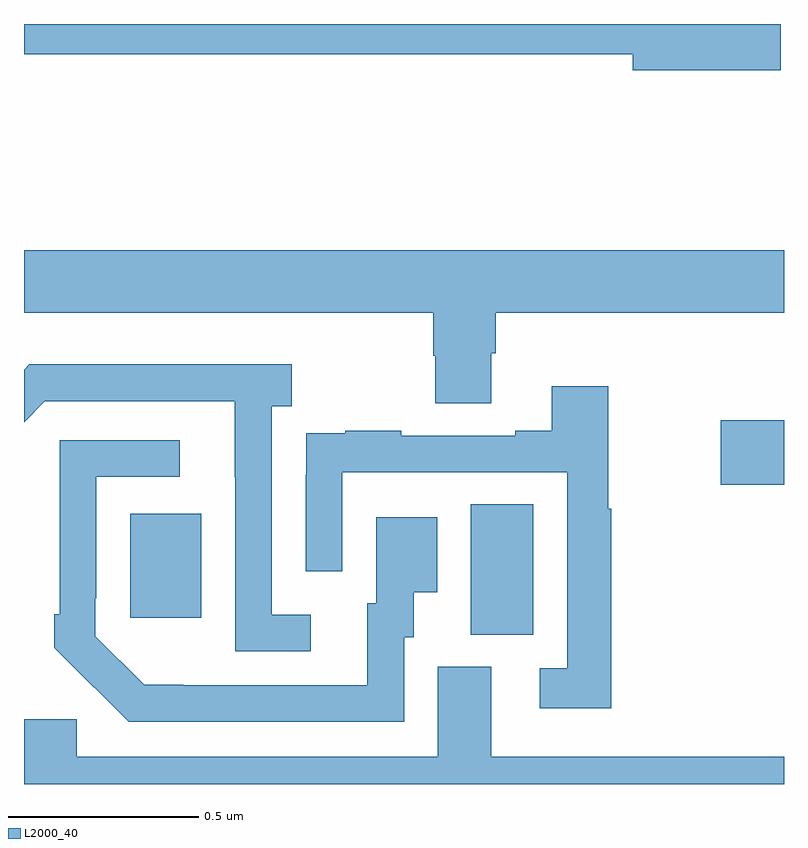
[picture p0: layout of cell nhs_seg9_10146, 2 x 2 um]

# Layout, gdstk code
import gdstk
lib = gdstk.Library(unit=1e-6, precision=1e-09)
def R(c, l, rs):  # rectangles x0, y0, x1, y1
    for r in rs: c.add(gdstk.rectangle(r[:2], r[2:], *l))
def P(c, l, *ps):  # polygons
    for p in ps: c.add(gdstk.Polygon(p, *l))
L2000_40 = (2000, 40)

nhs_seg9_10146 = lib.new_cell('nhs_seg9_10146')
R(nhs_seg9_10146, L2000_40, [(240.176,1208.893,240.34,1209.236), (239.279,1208.937,239.467,1209.211), (240.834,1209.287,241,1209.457)])
P(nhs_seg9_10146, L2000_40, [(240.991,1210.5),(239,1210.5),(239,1210.42),(240.602,1210.42),(240.602,1210.378),(240.991,1210.378)],
  [(240.229,1209.634),(240.242,1209.634),(240.242,1209.74),(241,1209.74),(241,1209.904),(239,1209.904),(239,1209.74),(240.077,1209.74),(240.077,1209.627),(240.082,1209.627),(240.082,1209.502),(240.229,1209.502)],
  [(239.755,1208.946),(239.652,1208.946),(239.652,1209.494),(239.704,1209.494),(239.704,1209.604),(239.014,1209.604),(239,1209.59),(239,1209.452),(239.055,1209.507),(239.555,1209.507),(239.555,1209.307),(239.556,1209.307),(239.556,1208.85),(239.755,1208.85)],
  [(240.545,1209.224),(240.538,1209.224),(240.538,1209.547),(240.389,1209.547),(240.389,1209.43),(240.293,1209.43),(240.293,1209.417),(239.993,1209.417),(239.993,1209.43),(239.845,1209.43),(239.845,1209.423),(239.743,1209.423),(239.743,1209.314),(239.742,1209.314),(239.742,1209.06),(239.838,1209.06),(239.838,1209.321),(240.429,1209.321),(240.429,1208.805),(240.357,1208.805),(240.357,1208.7),(240.545,1208.7)],
  [(240,1208.886),(240.025,1208.886),(240.025,1209.005),(240.088,1209.005),(240.088,1209.202),(239.927,1209.202),(239.927,1208.976),(239.903,1208.976),(239.903,1208.76),(239.419,1208.76),(239.419,1208.761),(239.316,1208.761),(239.187,1208.889),(239.187,1208.989),(239.19,1208.989),(239.19,1209.309),(239.41,1209.309),(239.41,1209.405),(239.094,1209.405),(239.094,1208.947),(239.079,1208.947),(239.079,1208.859),(239.184,1208.754),(239.185,1208.755),(239.276,1208.664),(240,1208.664)],
  [(241,1208.572),(240.229,1208.572),(240.229,1208.808),(240.089,1208.808),(240.089,1208.572),(239.139,1208.572),(239.139,1208.67),(239,1208.67),(239,1208.5),(241,1208.5)])

lib.write_gds('nhs_seg9_10146.gds')
